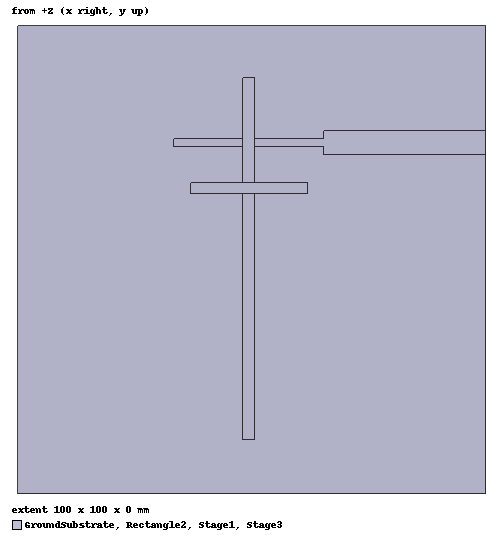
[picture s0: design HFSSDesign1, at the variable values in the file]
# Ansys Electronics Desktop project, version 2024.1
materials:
  vacuum: permittivity=1

design HFSSDesign1 (HFSS, HFSS Terminal Network, model units mm)
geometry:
  Ground = rectangle(corner=(-50mm, -50mm, 0mm), x_size=100mm, y_size=100mm)
  Rectangle2 = rectangle(corner=(50mm, 27.46mm, 0mm), x_size=-66.6mm, y_size=-4.92mm)
  Rectangle3 = rectangle(corner=(-16.6mm, 24.2mm, 0mm), x_size=32mm, y_size=-1.66mm)
  Rectangle4 = rectangle(corner=(-16.6mm, 27.46mm, 0mm), x_size=32mm, y_size=-1.66mm)
  GroundSubstrate [vacuum] = box(corner=(-50mm, 50mm, 0mm), size=(100mm, -100mm, 0mm))
  Rectangle2.subtract(Rectangle3, Rectangle4)
  Stage1 = rectangle(corner=(-1.85mm, 38.8mm, 0mm), x_size=2.5mm, y_size=-77.2mm)
  Stage3 = rectangle(corner=(-13.1mm, 14mm, 0mm), x_size=25mm, y_size=2.5mm)
